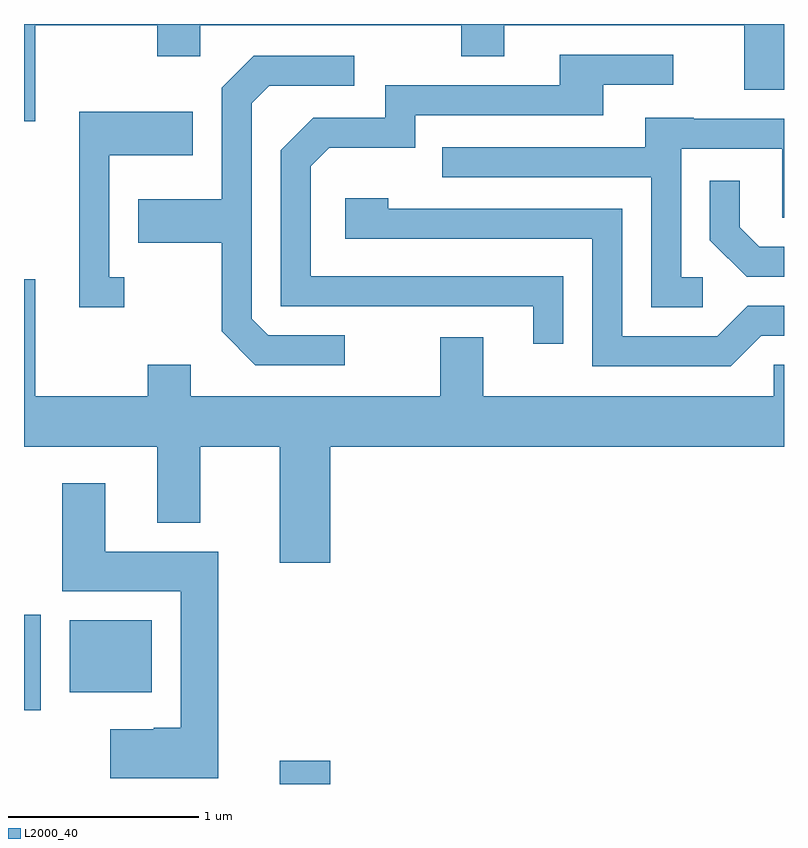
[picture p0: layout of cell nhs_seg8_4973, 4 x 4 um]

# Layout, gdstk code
import gdstk
lib = gdstk.Library(unit=1e-6, precision=1e-09)
def R(c, l, rs):  # rectangles x0, y0, x1, y1
    for r in rs: c.add(gdstk.rectangle(r[:2], r[2:], *l))
def P(c, l, *ps):  # polygons
    for p in ps: c.add(gdstk.Polygon(p, *l))
L2000_40 = (2000, 40)

nhs_seg8_4973 = lib.new_cell('nhs_seg8_4973')
R(nhs_seg8_4973, L2000_40, [(334.956,1912.342,335.224,1912.464), (333.611,1912.731,333.699,1913.234), (333.851,1912.826,334.284,1913.204)])
P(nhs_seg8_4973, L2000_40, [(333.669,1916.336),(334.311,1916.336),(334.311,1916.171),(334.539,1916.171),(334.539,1916.336),(335.911,1916.336),(335.911,1916.171),(336.139,1916.171),(336.139,1916.336),(337.401,1916.336),(337.401,1915.996),(337.611,1915.996),(337.611,1916.342),(333.611,1916.342),(333.611,1915.831),(333.669,1915.831)],
  [(336.449,1915.014),(335.119,1915.014),(335.119,1915.594),(335.217,1915.691),(335.669,1915.691),(335.669,1915.861),(336.659,1915.861),(336.659,1916.021),(337.028,1916.021),(337.028,1916.179),(336.431,1916.179),(336.431,1916.019),(335.511,1916.019),(335.511,1915.849),(335.134,1915.849),(334.961,1915.677),(334.961,1914.856),(336.291,1914.856),(336.291,1914.658),(336.449,1914.658)],
  [(335.298,1914.704),(334.897,1914.704),(334.809,1914.792),(334.809,1915.924),(334.902,1916.016),(335.348,1916.016),(335.348,1916.174),(334.819,1916.174),(334.651,1916.007),(334.651,1915.419),(334.211,1915.419),(334.211,1915.191),(334.651,1915.191),(334.651,1914.724),(334.829,1914.546),(335.298,1914.546)],
  [(334.138,1915.009),(334.059,1915.009),(334.059,1915.651),(334.499,1915.651),(334.499,1915.879),(333.901,1915.879),(333.901,1914.851),(334.138,1914.851)],
  [(337.183,1915.009),(337.069,1915.009),(337.069,1915.686),(337.601,1915.686),(337.601,1915.321),(337.611,1915.321),(337.611,1915.844),(337.135,1915.844),(337.135,1915.849),(336.881,1915.849),(336.881,1915.694),(335.813,1915.694),(335.813,1915.536),(336.911,1915.536),(336.911,1914.851),(337.183,1914.851)],
  [(337.611,1915.169),(337.482,1915.169),(337.379,1915.272),(337.379,1915.518),(337.221,1915.518),(337.221,1915.204),(337.414,1915.011),(337.611,1915.011)],
  [(337.492,1914.701),(337.611,1914.701),(337.611,1914.859),(337.419,1914.859),(337.259,1914.699),(336.759,1914.699),(336.759,1915.369),(335.529,1915.369),(335.529,1915.424),(335.301,1915.424),(335.301,1915.211),(336.601,1915.211),(336.601,1914.541),(337.332,1914.541)],
  [(335.224,1914.116),(337.611,1914.116),(337.611,1914.549),(337.556,1914.549),(337.556,1914.384),(336.029,1914.384),(336.029,1914.694),(335.801,1914.694),(335.801,1914.384),(334.489,1914.384),(334.489,1914.549),(334.261,1914.549),(334.261,1914.384),(333.669,1914.384),(333.669,1914.999),(333.611,1914.999),(333.611,1914.116),(334.311,1914.116),(334.311,1913.716),(334.539,1913.716),(334.539,1914.116),(334.956,1914.116),(334.956,1913.506),(335.224,1913.506)],
  [(334.634,1913.564),(334.039,1913.564),(334.039,1913.924),(333.811,1913.924),(333.811,1913.356),(334.436,1913.356),(334.436,1912.639),(334.295,1912.639),(334.295,1912.629),(334.066,1912.629),(334.066,1912.371),(334.634,1912.371)])

lib.write_gds('nhs_seg8_4973.gds')
